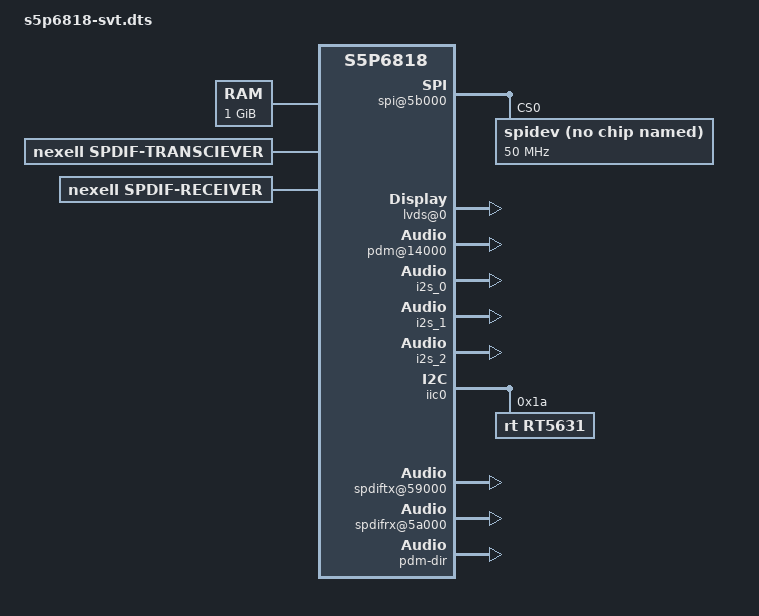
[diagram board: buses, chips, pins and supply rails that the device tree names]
/*
 * s5p6818.dtsi - Device Tree Include file for SLsiAp SoC
 *
 * Copyright 2009 Nexell Co.
 *		http://www.nexell.co.kr
 *
 * Licensed under GPLv2 or later.
 */

#include "s5p6818.dtsi"

#define	UART_CLOCK_FREQUENCY	147500000
#define I2C_CLOCK_FREQUENCY		100000000
#define SPI_CLOCK_FREQUENCY		100000000

/ {
	memory {
		reg = <0x40000000 0x40000000>;
	};

    aliases {
		snd_null_card0 = &snd_null_card_0;
		snd_null_card2 = &snd_null_card_2;
	};

	soc {

		clocks {
			uart0:uart@a9000 { clock-frequency = <UART_CLOCK_FREQUENCY>; };
			uart1:uart@a8000 { clock-frequency = <UART_CLOCK_FREQUENCY>; };
			uart2:uart@aa000 { clock-frequency = <UART_CLOCK_FREQUENCY>; };
			uart3:uart@ab000 { clock-frequency = <UART_CLOCK_FREQUENCY>; };
			uart4:uart@6e000 { clock-frequency = <UART_CLOCK_FREQUENCY>; };
			uart5:uart@84000 { clock-frequency = <UART_CLOCK_FREQUENCY>; };
			i2c0:i2c@ae000 { clock-frequency = <I2C_CLOCK_FREQUENCY>; };
			i2c1:i2c@af000 { clock-frequency = <I2C_CLOCK_FREQUENCY>; };
			i2c2:i2c@b0000 { clock-frequency = <I2C_CLOCK_FREQUENCY>; };
			spi0:spi@ac000 { clock-frequency = <SPI_CLOCK_FREQUENCY>; };
			spi1:spi@ad000 { clock-frequency = <SPI_CLOCK_FREQUENCY>; };
			spi2:spi@a7000 { clock-frequency = <SPI_CLOCK_FREQUENCY>; };
		};

		#include "s5p6818-svt-pin.dtsi"

		serial@a1000 {
			enable_dma = <1>;
		};

		serial@a0000 {
			enable_dma = <1>;
		};

		spi@5b000 {
			num_cs = <1>;
			clk_nr = <0>;


			spidev@0 {
				compatible = "spidev";
				reg = <0 0>;
				spi-max-frequency = < 50000000 >;
				controller-data {
					spi-cs-gpio = <10>;
					spi-feedback-delay = <02>;
				};
			};
		};
		spi@5c000 {
			num_cs = <1>;
			clk_nr = <0>;
		};
		spi@5f000 {
			num_cs = <1>;
			clk_nr = <0>;
		};

		rtc@10c00 {
			status = "okay";
		};

		wdt@19000 {
			status = "okay";
		};

		ppm@54000 {
			status = "okay";
		};

		framebuffer@0 {
			status = "okay";
			module = <0>;
			frame_layer = <0>;
			frame_format = <MLC_RGBFMT_A8R8G8B8>;
			back_color = <0x0>;
			bit_per_pixel	= <(4 * 8)>;
			lcd_x_resol	= <1024>;
			lcd_y_resol	= <600>;
			#ifdef CONFIG_ANDROID
			frame_buffers = <3>;
			skip_pan_vsync = <1>;
			#else
			frame_buffers = <2>;
			#endif
			lcd_with_mm	= <155>;
			lcd_height_mm = <90>;
		};

		lvds@0 {
			status = "okay";
			lvds_format = <LVDS_LCDFORMAT_JEIDA>; /* 0:VESA, 1:JEIDA, 2:Location */
			vsync {
				hor_active_size	= <1024>;
				hor_sync_width	= <20>;
				hor_back_porch	= <140>;
				hor_front_porch	= <160>;
				hor_sync_invert	= <1>;
				ver_active_size	= <600>;
				ver_sync_width	= <3>;
				ver_back_porch	= <20>;
				ver_front_porch	= <12>;
				ver_sync_invert	= <1>;
				pixel_clock_hz	= <(800000000/12)>;	/* PLL/div */
			};
			clock {
				clock,src_div0  = <2>;
				clock,div_val0	= <12>;
				clock,src_div1	= <7>;
				clock,div_val1	= <1>;
			};
		};

		pdm@14000 {
			status = "okay";
		};

		i2s_0:i2s0@55000 {
			master_mode = <1>;
			mclk_in = <0>;
			trans_mode = <1>;
			frame_bit = <48>;
			sample_rate = <48000>;
			pre_supply_mclk = <1>;
			status = "okay";
		};
		i2s_1:i2s1@56000 {
			master_mode = <1>;
			mclk_in = <1>;
			trans_mode = <0>;
			frame_bit = <48>;
			sample_rate = <48000>;
			pre_supply_mclk = <0>;
			status = "okay";
		};

		i2s_2:i2s2@57000 {
			master_mode = <0>;
			mclk_in = <1>;
			trans_mode = <1>;
			frame_bit = <48>;
			sample_rate = <48000>;
			pre_supply_mclk = <0>;
			status = "okay";
		};

        iic0:iic@a4000 {
			#address-cells = <1>;
			#size-cells = <0>;

			rt5631: rt5631@1a {
				compatible = "rt,rt5631";
				reg = <0x1a>;
			};
	    };

        spdiftx@59000 {
			status = "okay";
		};

		spdifrx@5a000 {
			status = "okay";
		};
		
		ehci@30000 {
			hsic_en = <1>;
			hsic_exthub_gpio = <150>;
			ehci_late_loadtime = <500>;
		};
	};

    nxp-ion {
        compatible = "nexell,nxp-ion";
        nr = <3>;
        names = "ion_noncontig_heap", "ion_contig_heap", "nxp_contig_heap";
        types = <0 1 6>;
    };

    nxp-v4l2 {
        compatible = "nexell,nxp-v4l2";

        capture {
            nr = <1>;

            capture0 {
                module = <2>;
                type = <0>;

                port = <0>;
                external_sync = <0>;

                h_frontporch = <7>;
                h_syncwidth = <1>;
                h_backporch = <10>;
                v_frontporch = <0>;
                v_syncwidth = <2>;
                v_backporch = <3>;

                data_order = <0>;
                vid = <0>;

                interlace = <0>;
                late_power_down = <0>;

                sensor {
                    type = <0>;
                    sensor_name = "MT9D111";
                    i2c_adapter = <2>;
                    addr = <0x5d>;
                };

                power {
                    reset_io = <(PAD_GPIO_C+30)>;
                    reset_invert = <1>;
                    reset_delay_ms = <10>;
                };
            };
        };
    };

	pdm-dir {
		compatible = "nexell,pdm-dir";
		#address-cells = <1>;
		#size-cells = <0>;
		reg = <0 0>;
	};

	pdm_recorder {
		compatible = "nexell,pdm-recorder";
		sample_rate = <48000>;
        format = "S16";
	};

	snd-null {
		compatible = "nexell,snd-null";
		#address-cells = <1>;
		#size-cells = <0>;
		reg = <0 0>;
	};

	snd_null_card_0:snd_null_card@0 {
		compatible = "nexell,snd-null-card";
		ch = <0>;
		sample_rate = <48000>;
	    format = "S16";
		nexell,i2s-controller = <&i2s_0>;
	};

	sound {
		compatible = "nexell,nxp-rt5631";
		ch = <1>;
		sample_rate = <48000>;
	    format = "S16";
		nexell,i2s-controller = <&i2s_1>;
		nexell,audio-codec = <&rt5631>;
	};

	snd_null_card_2:snd_null_card@2 {
		compatible = "nexell,snd-null-card";
		ch = <2>;
		sample_rate = <48000>;
	    format = "S16";
		nexell,i2s-controller = <&i2s_2>;
	};

	spdif-dit {
		compatible = "nexell,spdif-dit";
		#address-cells = <1>;
		#size-cells = <0>;
		reg = <0 0>;
	};

	spdif-transciever {
		compatible = "nexell,spdif-transciever";
		sample_rate = <48000>;
	    format = "S16";
	};

	spdif-dir {
		compatible = "nexell,spdif-dir";
		#address-cells = <1>;
		#size-cells = <0>;
		reg = <0 0>;
	};

	spdif-receiver {
		compatible = "nexell,spdif-receiver";
		sample_rate = <48000>;
	    format = "S16";
	};
};
